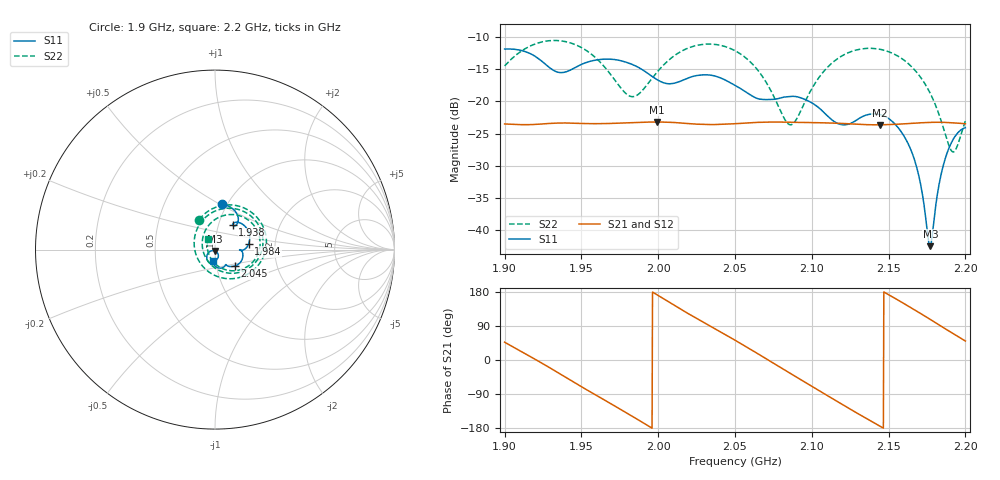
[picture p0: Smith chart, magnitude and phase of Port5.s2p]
# Hz S RI R 50
! CMT, CMT808U, 21440046, 21.4.3/4
! Date: 3/28/2026 4:58:37 PM
! Data: Format (Calibration Info)
! Freq	S11:Re/Im(F2)	S41:Re/Im(F2)	S14:Re/Im(F2)	S44:Re/Im(F2)
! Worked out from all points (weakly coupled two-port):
!   1001 points, 1.9 GHz to 2.2 GHz, reference 50 ohm
!   highest |S21| = -23.20 dB at 1.999 GHz (marker M1); lowest = -23.7 dB at 2.144 GHz (marker M2)
!   lowest |S11| = -42.5 dB at 2.177 GHz (marker M3), VSWR 1.02, Z = 49.9 - j0.735 ohm
!   |S11| at or under -10 dB: start of sweep to end of sweep
!   |S22| runs from -27.9 to -10.5 dB; largest |S21 - S12| = 0.00043
!   S11 on the Smith chart (normalised r, x): 1.9 GHz: 0.95, +0.51; 1.938 GHz: 1.17, +0.33; 1.984 GHz: 1.46, +0.10; 2.045 GHz: 1.23, -0.23; 2.2 GHz: 0.97, -0.12
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1.9e9  0.0392 0.2515  0.0454 0.0488  0.0451 0.0489  -0.0886 0.1663
1.918e9  0.1246 0.1938  0.0656 0.00706  0.0655 0.00738  0.1213 0.2449
1.9381e9  0.0991 0.1349  0.0507 -0.0452  0.0508 -0.0449  0.2847 0.0695
1.9501e9  0.1192 0.1526  0.0222 -0.0636  0.0225 -0.0634  0.2503 -0.0747
1.9669e9  0.1791 0.1149  -0.023 -0.0632  -0.0227 -0.0632  0.0646 -0.1616
1.9843e9  0.1879 0.0324  -0.06 -0.0327  -0.0598 -0.0329  -0.1042 -0.0321
1.999e9  0.1479 -0.00464  -0.0686 0.0089  -0.0685 0.00849  -0.0827 0.1452
2.0002e9  0.1451 -0.00476  -0.068 0.0124  -0.0679 0.0121  -0.0741 0.1571
2.0197e9  0.1517 -0.012  -0.0356 0.0569  -0.0359 0.0567  0.134 0.2225
2.0446e9  0.1119 -0.0913  0.0282 0.0602  0.0279 0.0603  0.2636 0.00743
2.05e9  0.0935 -0.0945  0.041 0.053  0.0407 0.0532  0.2429 -0.0465
2.0674e9  0.0615 -0.0834  0.0677 0.0123  0.0675 0.0126  0.0884 -0.132
2.0851e9  0.0465 -0.0986  0.0577 -0.0377  0.0577 -0.0374  -0.0579 -0.0323
2.1001e9  0.00681 -0.0969  0.0239 -0.0641  0.0242 -0.0638  -0.0484 0.1162
2.1193e9  -0.00242 -0.0659  -0.0295 -0.0606  -0.0292 -0.0606  0.1122 0.194
2.1442e9  -0.0303 -0.073  -0.0654 -0.00652  -0.0653 -0.00684  0.2514 0.0346
2.1502e9  -0.0421 -0.0599  -0.0653 0.00928  -0.0653 0.00892  0.2416 -0.0187
2.1661e9  -0.0343 -0.015  -0.0472 0.0484  -0.0474 0.0481  0.1404 -0.1126
2.1772e9  -0.00143 -0.00737  -0.0199 0.0657  -0.0202 0.0655  0.0429 -0.1064
2.1841e9  0.0156 -0.0218  0.000616 0.0687  0.000278 0.0687  -0.0067 -0.0709
2.1913e9  0.0163 -0.046  0.0218 0.0646  0.0214 0.0647  -0.0376 -0.0159
2.2e9  -0.00891 -0.0618  0.043 0.0513  0.0427 0.0515  -0.0388 0.059
